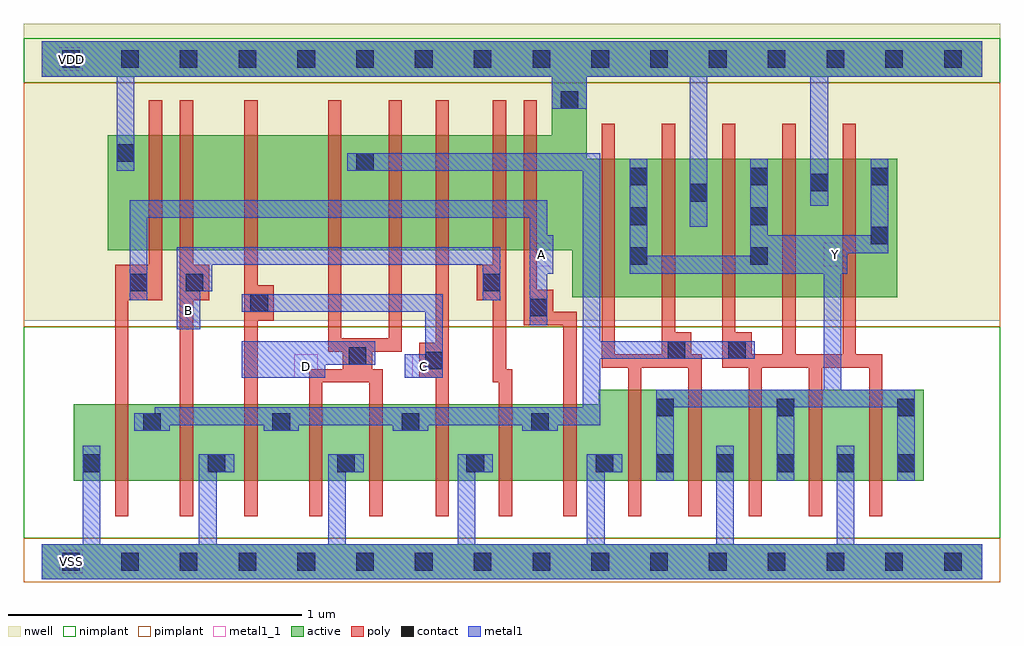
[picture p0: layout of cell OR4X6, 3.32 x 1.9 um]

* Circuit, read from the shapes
.subckt OR4X6 A B C D VDD VSS Y
M1 n1 A VSS VSS nfet w=0.26u l=0.045u m=2
M2 VSS B n1 VSS nfet w=0.26u l=0.045u m=2
M3 n1 C VSS VSS nfet w=0.26u l=0.045u m=2
M4 VSS D n1 VSS nfet w=0.26u l=0.045u m=2
M5 Y n1 VSS VSS nfet w=0.31u l=0.045u m=5
M6 n2 A VDD VDD pfet w=0.39u l=0.045u
M7 n3 B n2 VDD pfet w=0.39u l=0.045u
M8 n4 C n3 VDD pfet w=0.39u l=0.045u
M9 n1 D n4 VDD pfet w=0.39u l=0.045u
M10 n5 D n1 VDD pfet w=0.39u l=0.045u
M11 n6 C n5 VDD pfet w=0.39u l=0.045u
M12 n7 B n6 VDD pfet w=0.39u l=0.045u
M13 VDD A n7 VDD pfet w=0.39u l=0.045u
M14 Y n1 VDD VDD pfet w=0.47u l=0.045u m=5
.ends

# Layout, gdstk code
import gdstk
lib = gdstk.Library(unit=1e-6, precision=5e-10)
def R(c, l, rs):  # rectangles x0, y0, x1, y1
    for r in rs: c.add(gdstk.rectangle(r[:2], r[2:], *l))
def A(c, l, x, y, w, h, nx, ny, dx, dy):  # array of equal rectangles
    R(c, l, [(x+i*dx, y+j*dy, x+i*dx+w, y+j*dy+h) for i in range(nx) for j in range(ny)])
def P(c, l, *ps):  # polygons
    for p in ps: c.add(gdstk.Polygon(p, *l))
active = (1, 0)
nwell = (2, 0)
poly = (3, 0)
nimplant = (4, 0)
pimplant = (5, 0)
contact = (6, 0)
metal1 = (7, 0)
metal1_1 = (7, 1)

or4x6 = lib.new_cell('OR4X6')
R(or4x6, active, [(0,-0.06,3.2,0.06)])
P(or4x6, active, [(0,1.77),(3.2,1.77),(3.2,1.65),(1.855,1.65),(1.855,1.37),(2.91,1.37),(2.91,0.9),(1.805,0.9),(1.805,1.06),(0.225,1.06),(0.225,1.45),(1.735,1.45),(1.735,1.65),(0,1.65)],
  [(1.895,0.585),(3,0.585),(3,0.275),(0.11,0.275),(0.11,0.535),(1.895,0.535)])
R(or4x6, nwell, [(-0.06,0.82,3.26,1.83)])
P(or4x6, poly, [(0.365,1.57),(0.41,1.57),(0.41,0.89),(0.295,0.89),(0.295,0.155),(0.25,0.155),(0.25,1.01),(0.365,1.01)],
  [(0.47,1.57),(0.515,1.57),(0.515,1.01),(0.57,1.01),(0.57,0.89),(0.515,0.89),(0.515,0.155),(0.47,0.155)],
  [(0.69,1.57),(0.735,1.57),(0.735,0.94),(0.79,0.94),(0.79,0.82),(0.735,0.82),(0.735,0.155),(0.69,0.155)],
  [(0.975,1.57),(1.02,1.57),(1.02,0.76),(1.18,0.76),(1.18,1.57),(1.225,1.57),(1.225,0.715),(1.125,0.715),(1.125,0.655),(1.16,0.655),(1.16,0.155),(1.115,0.155),(1.115,0.61),(0.955,0.61),(0.955,0.155),(0.91,0.155),(0.91,0.655),(1.025,0.655),(1.025,0.715),(0.975,0.715)],
  [(1.34,1.57),(1.385,1.57),(1.385,0.155),(1.34,0.155),(1.34,0.625),(1.285,0.625),(1.285,0.745),(1.34,0.745)],
  [(1.535,1.57),(1.58,1.57),(1.58,0.655),(1.6,0.655),(1.6,0.155),(1.555,0.155),(1.555,0.61),(1.535,0.61),(1.535,0.89),(1.48,0.89),(1.48,1.01),(1.535,1.01)],
  [(1.64,1.57),(1.685,1.57),(1.685,0.925),(1.74,0.925),(1.74,0.85),(1.82,0.85),(1.82,0.155),(1.775,0.155),(1.775,0.805),(1.64,0.805)],
  [(1.905,1.49),(1.95,1.49),(1.95,0.705),(2.11,0.705),(2.11,1.49),(2.155,1.49),(2.155,0.78),(2.21,0.78),(2.21,0.705),(2.245,0.705),(2.245,0.155),(2.2,0.155),(2.2,0.66),(2.04,0.66),(2.04,0.155),(1.995,0.155),(1.995,0.66),(1.905,0.66)],
  [(2.315,1.49),(2.36,1.49),(2.36,0.78),(2.415,0.78),(2.415,0.705),(2.52,0.705),(2.52,1.49),(2.565,1.49),(2.565,0.705),(2.725,0.705),(2.725,1.49),(2.77,1.49),(2.77,0.705),(2.86,0.705),(2.86,0.155),(2.815,0.155),(2.815,0.66),(2.655,0.66),(2.655,0.155),(2.61,0.155),(2.61,0.66),(2.45,0.66),(2.45,0.155),(2.405,0.155),(2.405,0.66),(2.315,0.66)])
R(or4x6, nimplant, [(-0.06,0.08,3.26,0.8), (-0.06,1.63,3.26,1.78)])
R(or4x6, pimplant, [(-0.06,-0.07,3.26,0.08), (-0.06,0.8,3.26,1.63)])
A(or4x6, contact, 0.07, -0.03, 0.06, 0.06, 16, 2, 0.2, 1.71)
A(or4x6, contact, 0.565, 0.305, 0.06, 0.06, 4, 1, 0.44, 0)
A(or4x6, contact, 2.09, 0.305, 0.06, 0.06, 5, 1, 0.205, 0)
A(or4x6, contact, 0.345, 0.445, 0.06, 0.06, 4, 1, 0.44, 0)
A(or4x6, contact, 2.09, 0.495, 0.06, 0.06, 3, 1, 0.41, 0)
A(or4x6, contact, 2, 1.28, 0.06, 0.06, 3, 1, 0.41, 0)
R(or4x6, contact, [(0.14,0.305,0.2,0.365), (1.305,0.655,1.365,0.715), (1.045,0.67,1.105,0.73), (2.13,0.69,2.19,0.75), (2.335,0.69,2.395,0.75), (1.66,0.835,1.72,0.895), (0.71,0.85,0.77,0.91), (0.3,0.92,0.36,0.98), (0.49,0.92,0.55,0.98), (1.5,0.92,1.56,0.98), (2,1.01,2.06,1.07), (2.41,1.01,2.47,1.07), (2.82,1.08,2.88,1.14), (2,1.145,2.06,1.205), (2.41,1.145,2.47,1.205), (2.205,1.225,2.265,1.285), (2.615,1.26,2.675,1.32), (1.07,1.33,1.13,1.39), (0.255,1.36,0.315,1.42), (1.765,1.54,1.825,1.6)])
P(or4x6, metal1, [(0,1.77),(3.2,1.77),(3.2,1.65),(2.675,1.65),(2.675,1.21),(2.615,1.21),(2.615,1.65),(2.265,1.65),(2.265,1.14),(2.205,1.14),(2.205,1.65),(1.855,1.65),(1.855,1.54),(1.735,1.54),(1.735,1.65),(0.315,1.65),(0.315,1.33),(0.255,1.33),(0.255,1.65),(0,1.65)],
  [(2,1.37),(2.06,1.37),(2.06,1.04),(2.41,1.04),(2.41,1.37),(2.47,1.37),(2.47,1.11),(2.82,1.11),(2.82,1.37),(2.88,1.37),(2.88,1.05),(2.74,1.05),(2.74,0.98),(2.72,0.98),(2.72,0.585),(2.97,0.585),(2.97,0.275),(2.91,0.275),(2.91,0.525),(2.56,0.525),(2.56,0.275),(2.5,0.275),(2.5,0.525),(2.15,0.525),(2.15,0.275),(2.09,0.275),(2.09,0.585),(2.66,0.585),(2.66,0.98),(2,0.98)],
  [(1.04,1.39),(1.9,1.39),(1.9,0.75),(2.425,0.75),(2.425,0.69),(1.9,0.69),(1.9,0.465),(1.755,0.465),(1.755,0.445),(1.635,0.445),(1.635,0.465),(1.315,0.465),(1.315,0.445),(1.195,0.445),(1.195,0.465),(0.875,0.465),(0.875,0.445),(0.755,0.445),(0.755,0.465),(0.435,0.465),(0.435,0.445),(0.315,0.445),(0.315,0.505),(0.385,0.505),(0.385,0.525),(1.84,0.525),(1.84,1.33),(1.04,1.33)],
  [(0.3,1.23),(1.72,1.23),(1.72,1.11),(1.74,1.11),(1.74,0.98),(1.72,0.98),(1.72,0.805),(1.66,0.805),(1.66,1.17),(0.36,1.17),(0.36,0.89),(0.3,0.89)],
  [(0.46,1.07),(1.56,1.07),(1.56,0.89),(1.5,0.89),(1.5,1.01),(0.58,1.01),(0.58,0.92),(0.54,0.92),(0.54,0.79),(0.46,0.79)],
  [(0.68,0.91),(1.365,0.91),(1.365,0.625),(1.235,0.625),(1.235,0.705),(1.305,0.705),(1.305,0.85),(0.68,0.85)],
  [(0.68,0.75),(1.135,0.75),(1.135,0.67),(0.965,0.67),(0.965,0.625),(0.68,0.625)],
  [(0.14,0.395),(0.2,0.395),(0.2,0.06),(0.535,0.06),(0.535,0.365),(0.655,0.365),(0.655,0.305),(0.595,0.305),(0.595,0.06),(0.975,0.06),(0.975,0.365),(1.095,0.365),(1.095,0.305),(1.035,0.305),(1.035,0.06),(1.415,0.06),(1.415,0.365),(1.535,0.365),(1.535,0.305),(1.475,0.305),(1.475,0.06),(1.855,0.06),(1.855,0.365),(1.975,0.365),(1.975,0.305),(1.915,0.305),(1.915,0.06),(2.295,0.06),(2.295,0.395),(2.355,0.395),(2.355,0.06),(2.705,0.06),(2.705,0.395),(2.765,0.395),(2.765,0.06),(3.2,0.06),(3.2,-0.06),(0,-0.06),(0,0.06),(0.14,0.06)])
R(or4x6, metal1_1, [(0.06,-0.04,0.14,0.04), (0.86,0.625,0.94,0.705), (1.26,0.625,1.34,0.705), (0.46,0.815,0.54,0.895), (1.66,1.005,1.74,1.085), (2.66,1.005,2.74,1.085), (0.06,1.67,0.14,1.75)])
or4x6.add(gdstk.Label('Y', (2.7,1.045), layer=7, texttype=1))
or4x6.add(gdstk.Label('A', (1.7,1.045), layer=7, texttype=1))
or4x6.add(gdstk.Label('B', (0.5,0.855), layer=7, texttype=1))
or4x6.add(gdstk.Label('C', (1.3,0.665), layer=7, texttype=1))
or4x6.add(gdstk.Label('D', (0.9,0.665), layer=7, texttype=1))
or4x6.add(gdstk.Label('VDD', (0.1,1.71), layer=7, texttype=1))
or4x6.add(gdstk.Label('VSS', (0.1,0), layer=7, texttype=1))
or4x6.add(gdstk.Label('OR4X6', (0,0), layer=63, texttype=0))

lib.write_gds('OR4X6.gds')
